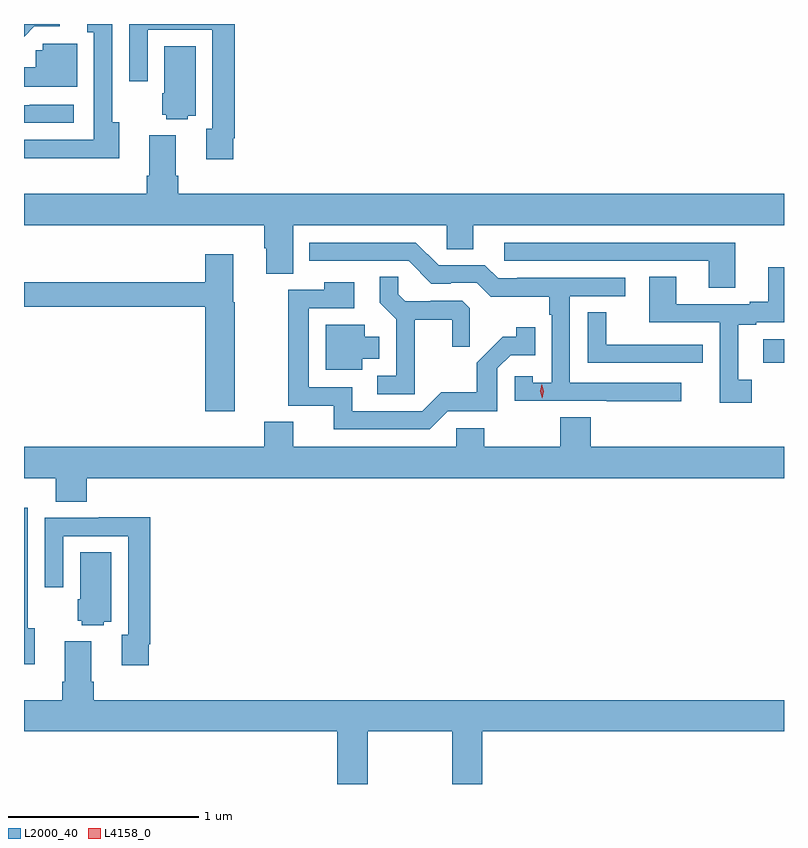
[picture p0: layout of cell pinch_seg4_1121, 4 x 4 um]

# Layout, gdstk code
import gdstk
lib = gdstk.Library(unit=1e-6, precision=1e-09)
def R(c, l, rs):  # rectangles x0, y0, x1, y1
    for r in rs: c.add(gdstk.rectangle(r[:2], r[2:], *l))
def P(c, l, *ps):  # polygons
    for p in ps: c.add(gdstk.Polygon(p, *l))
L2000_40 = (2000, 40)
L4158_0 = (4158, 0)

pinch_seg4_1121 = lib.new_cell('pinch_seg4_1121')
R(pinch_seg4_1121, L2000_40, [(426.915,761.463,427.025,761.587)])
P(pinch_seg4_1121, L2000_40, [(423.526,762.73),(423.489,762.73),(423.489,763.246),(423.359,763.246),(423.359,763.202),(423.393,763.202),(423.393,762.636),(423.025,762.636),(423.025,762.54),(423.061,762.54),(423.061,762.539),(423.526,762.539)],
  [(424.126,762.646),(424.133,762.646),(424.133,763.246),(423.579,763.246),(423.579,762.945),(423.675,762.945),(423.675,763.215),(424.017,763.215),(424.017,762.695),(423.983,762.695),(423.983,762.534),(424.126,762.534)],
  [(423.078,763.233),(423.214,763.233),(423.214,763.246),(423.025,763.246),(423.025,763.18)],
  [(423.304,763.143),(423.123,763.143),(423.123,763.107),(423.087,763.107),(423.087,763.018),(423.025,763.018),(423.025,762.915),(423.304,762.915)],
  [(423.888,762.764),(423.928,762.764),(423.928,763.13),(423.764,763.13),(423.764,762.882),(423.752,762.882),(423.752,762.768),(423.774,762.768),(423.774,762.746),(423.888,762.746)],
  [(423.286,762.822),(423.055,762.822),(423.055,762.819),(423.025,762.819),(423.025,762.726),(423.286,762.726)],
  [(423.823,762.448),(423.823,762.661),(423.683,762.661),(423.683,762.448),(423.671,762.448),(423.671,762.352),(423.025,762.352),(423.025,762.188),(424.289,762.188),(424.289,762.066),(424.301,762.066),(424.301,761.932),(424.441,761.932),(424.441,762.188),(425.25,762.188),(425.25,762.061),(425.389,762.061),(425.389,762.188),(427.025,762.188),(427.025,762.352),(423.836,762.352),(423.836,762.448)],
  [(426.769,762.096),(425.553,762.096),(425.553,762),(426.629,762),(426.629,761.857),(426.769,761.857)],
  [(426.484,761.358),(425.898,761.358),(425.898,761.814),(426.19,761.814),(426.19,761.91),(425.62,761.91),(425.62,761.907),(425.52,761.907),(425.451,761.976),(425.208,761.976),(425.088,762.096),(424.526,762.096),(424.526,762),(425.049,762),(425.169,761.88),(425.27,761.88),(425.27,761.883),(425.409,761.883),(425.482,761.81),(425.79,761.81),(425.79,761.717),(425.802,761.717),(425.802,761.359),(425.703,761.359),(425.703,761.391),(425.607,761.391),(425.607,761.262),(426.091,761.262),(426.091,761.26),(426.484,761.26)],
  [(424.134,761.781),(424.126,761.781),(424.126,762.034),(423.98,762.034),(423.98,761.887),(423.025,761.887),(423.025,761.758),(423.98,761.758),(423.98,761.208),(424.134,761.208)],
  [(426.856,761.373),(426.784,761.373),(426.784,761.664),(426.88,761.664),(426.88,761.676),(427.025,761.676),(427.025,761.965),(426.941,761.965),(426.941,761.785),(426.845,761.785),(426.845,761.772),(426.457,761.772),(426.457,761.915),(426.317,761.915),(426.317,761.676),(426.687,761.676),(426.687,761.253),(426.856,761.253)],
  [(425.081,761.69),(425.278,761.69),(425.278,761.547),(425.372,761.547),(425.372,761.749),(425.331,761.79),(425.166,761.79),(425.166,761.787),(425.032,761.787),(424.995,761.824),(424.995,761.915),(424.897,761.915),(424.897,761.779),(424.983,761.693),(424.983,761.394),(424.884,761.394),(424.884,761.298),(425.081,761.298)],
  [(425.256,761.208),(425.517,761.208),(425.517,761.433),(425.586,761.502),(425.717,761.502),(425.717,761.65),(425.616,761.65),(425.616,761.6),(425.546,761.6),(425.409,761.462),(425.409,761.307),(425.22,761.307),(425.121,761.208),(424.753,761.208),(424.753,761.334),(424.524,761.334),(424.524,761.751),(424.762,761.751),(424.762,761.887),(424.606,761.887),(424.606,761.847),(424.416,761.847),(424.416,761.238),(424.655,761.238),(424.655,761.112),(425.16,761.112)],
  [(426.598,761.558),(426.485,761.558),(426.485,761.559),(426.09,761.559),(426.09,761.729),(425.991,761.729),(425.991,761.463),(426.598,761.463)],
  [(424.804,761.483),(424.894,761.483),(424.894,761.599),(424.819,761.599),(424.819,761.662),(424.613,761.662),(424.613,761.426),(424.804,761.426)],
  [(423.356,760.856),(427.025,760.856),(427.025,761.02),(426.008,761.02),(426.008,761.177),(425.848,761.177),(425.848,761.02),(425.448,761.02),(425.448,761.118),(425.301,761.118),(425.301,761.02),(424.441,761.02),(424.441,761.153),(424.289,761.153),(424.289,761.02),(423.025,761.02),(423.025,760.856),(423.191,760.856),(423.191,760.732),(423.356,760.732)],
  [(423.082,760.066),(423.045,760.066),(423.045,760.699),(423.025,760.699),(423.025,759.875),(423.082,759.875)],
  [(423.682,759.982),(423.689,759.982),(423.689,760.651),(423.419,760.651),(423.419,760.647),(423.135,760.647),(423.135,760.281),(423.231,760.281),(423.231,760.551),(423.573,760.551),(423.573,760.031),(423.539,760.031),(423.539,759.87),(423.682,759.87)],
  [(423.444,760.1),(423.484,760.1),(423.484,760.466),(423.32,760.466),(423.32,760.218),(423.308,760.218),(423.308,760.104),(423.33,760.104),(423.33,760.082),(423.444,760.082)],
  [(424.833,759.524),(425.278,759.524),(425.278,759.246),(425.438,759.246),(425.438,759.524),(427.025,759.524),(427.025,759.688),(423.392,759.688),(423.392,759.784),(423.379,759.784),(423.379,759.997),(423.239,759.997),(423.239,759.784),(423.227,759.784),(423.227,759.688),(423.025,759.688),(423.025,759.524),(424.673,759.524),(424.673,759.246),(424.833,759.246)])
P(pinch_seg4_1121, L4158_0, [(425.752,761.277),(425.752,761.277),(425.742,761.313),(425.751,761.349),(425.751,761.35),(425.751,761.349),(425.761,761.314),(425.752,761.277)])

lib.write_gds('pinch_seg4_1121.gds')
